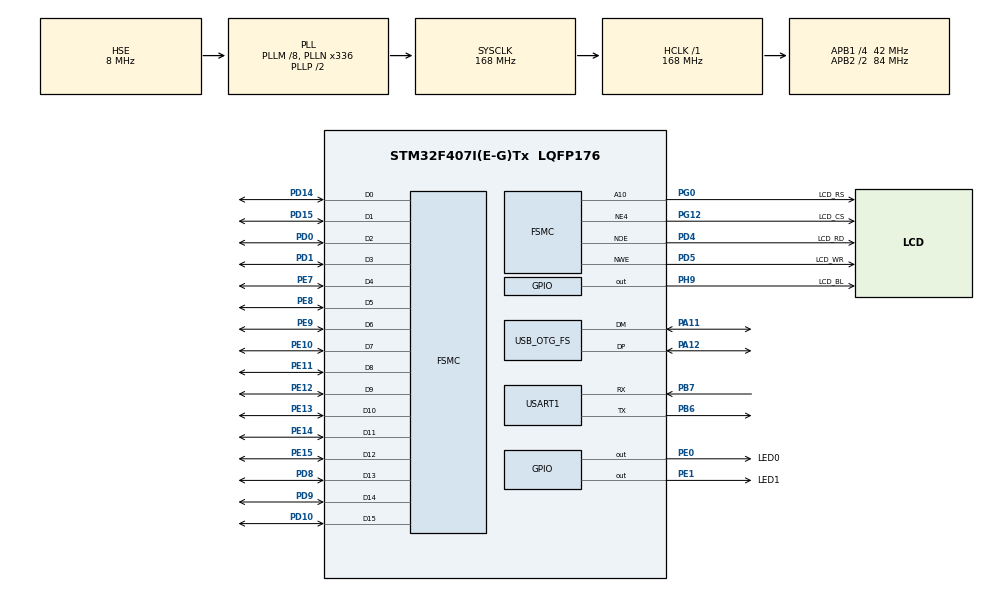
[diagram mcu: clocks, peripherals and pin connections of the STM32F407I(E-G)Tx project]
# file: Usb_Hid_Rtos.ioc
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FREERTOS.Tasks01=defaultTask,0,256,StartDefaultTask,Default,NULL,Dynamic,NULL,NULL
FREERTOS.configMINIMAL_STACK_SIZE=256
FREERTOS.configTOTAL_HEAP_SIZE=40960
FSMC.AddressSetupTime1=0xf
FSMC.DataSetupTime1=60
FSMC.ExtendedAddressSetupTime1=9
FSMC.ExtendedDataSetupTime1=9
FSMC.ExtendedMode1=FSMC_EXTENDED_MODE_ENABLE
Mcu.Family=STM32F4
Mcu.Name=STM32F407I(E-G)Tx
Mcu.Package=LQFP176
NVIC.OTG_FS_IRQn=true\:5\:0\:true\:false\:true\:true\:true\:true\:true
NVIC.PriorityGroup=NVIC_PRIORITYGROUP_4
NVIC.TIM1_UP_TIM10_IRQn=true\:0\:0\:true\:false\:true\:false\:false\:true\:true
NVIC.TimeBase=TIM1_UP_TIM10_IRQn
NVIC.TimeBaseIP=TIM1
PA11.Mode=Host_Only
PA11.Signal=USB_OTG_FS_DM
PA12.Mode=Host_Only
PA12.Signal=USB_OTG_FS_DP
PA13.Mode=Serial_Wire
PA13.Signal=SYS_JTMS-SWDIO
PA14.Mode=Serial_Wire
PA14.Signal=SYS_JTCK-SWCLK
PB6.Mode=Asynchronous
PB6.Signal=USART1_TX
PB7.Mode=Asynchronous
PB7.Signal=USART1_RX
PD0.Signal=FSMC_D2_DA2
PD1.Signal=FSMC_D3_DA3
PD10.Signal=FSMC_D15_DA15
PD14.Signal=FSMC_D0_DA0
PD15.Signal=FSMC_D1_DA1
PD4.GPIO_Label=LCD_RD
PD4.GPIO_PuPd=GPIO_PULLUP
PD4.Signal=FSMC_NOE
PD5.GPIO_Label=LCD_WR
PD5.GPIO_PuPd=GPIO_PULLUP
PD5.Signal=FSMC_NWE
PD8.Signal=FSMC_D13_DA13
PD9.Signal=FSMC_D14_DA14
PE0.GPIO_Label=LED0
PE0.GPIO_Speed=GPIO_SPEED_FREQ_HIGH
PE0.PinState=GPIO_PIN_SET
PE0.Signal=GPIO_Output
PE1.GPIO_Label=LED1
PE1.GPIO_Speed=GPIO_SPEED_FREQ_HIGH
PE1.PinState=GPIO_PIN_SET
PE1.Signal=GPIO_Output
PE10.Signal=FSMC_D7_DA7
PE11.Signal=FSMC_D8_DA8
PE12.Signal=FSMC_D9_DA9
PE13.Signal=FSMC_D10_DA10
PE14.Signal=FSMC_D11_DA11
PE15.Signal=FSMC_D12_DA12
PE7.Signal=FSMC_D4_DA4
PE8.Signal=FSMC_D5_DA5
PE9.Signal=FSMC_D6_DA6
PG0.GPIO_Label=LCD_RS
PG0.GPIO_PuPd=GPIO_PULLUP
PG0.Signal=FSMC_A10
PG12.GPIO_Label=LCD_CS
PG12.GPIO_PuPd=GPIO_PULLUP
PG12.Mode=NorPsramChipSelect4_1
PG12.Signal=FSMC_NE4
PH0-OSC_IN.Mode=HSE-External-Oscillator
PH0-OSC_IN.Signal=RCC_OSC_IN
PH1-OSC_OUT.Mode=HSE-External-Oscillator
PH1-OSC_OUT.Signal=RCC_OSC_OUT
PH9.GPIO_Label=LCD_BL
PH9.GPIO_Speed=GPIO_SPEED_FREQ_HIGH
PH9.PinState=GPIO_PIN_SET
PH9.Signal=GPIO_Output
ProjectManager.HeapSize=0x1024
ProjectManager.StackSize=0x2048
ProjectManager.TargetToolchain=MDK-ARM V5.32
RCC.48MHZClocksFreq_Value=48000000
RCC.AHBFreq_Value=168000000
RCC.APB1CLKDivider=RCC_HCLK_DIV4
RCC.APB1Freq_Value=42000000
RCC.APB1TimFreq_Value=84000000
RCC.APB2CLKDivider=RCC_HCLK_DIV2
RCC.APB2Freq_Value=84000000
RCC.APB2TimFreq_Value=168000000
RCC.CortexFreq_Value=168000000
RCC.HCLKFreq_Value=168000000
RCC.HSE_VALUE=8000000
RCC.HSI_VALUE=16000000
RCC.LSE_VALUE=32768
RCC.PLLM=8
RCC.PLLN=336
RCC.PLLQ=7
RCC.SYSCLKFreq_VALUE=168000000
RCC.SYSCLKSource=RCC_SYSCLKSOURCE_PLLCLK
RCC.VCOOutputFreq_Value=336000000
SH.FSMC_A10.0=FSMC_A10,A10_1
SH.FSMC_D0_DA0.0=FSMC_D0,16b-d1
SH.FSMC_D10_DA10.0=FSMC_D10,16b-d1
SH.FSMC_D11_DA11.0=FSMC_D11,16b-d1
SH.FSMC_D12_DA12.0=FSMC_D12,16b-d1
SH.FSMC_D13_DA13.0=FSMC_D13,16b-d1
SH.FSMC_D14_DA14.0=FSMC_D14,16b-d1
SH.FSMC_D15_DA15.0=FSMC_D15,16b-d1
SH.FSMC_D1_DA1.0=FSMC_D1,16b-d1
SH.FSMC_D2_DA2.0=FSMC_D2,16b-d1
SH.FSMC_D3_DA3.0=FSMC_D3,16b-d1
SH.FSMC_D4_DA4.0=FSMC_D4,16b-d1
SH.FSMC_D5_DA5.0=FSMC_D5,16b-d1
SH.FSMC_D6_DA6.0=FSMC_D6,16b-d1
SH.FSMC_D7_DA7.0=FSMC_D7,16b-d1
SH.FSMC_D8_DA8.0=FSMC_D8,16b-d1
SH.FSMC_D9_DA9.0=FSMC_D9,16b-d1
SH.FSMC_NOE.0=FSMC_NOE,Lcd1
SH.FSMC_NWE.0=FSMC_NWE,Lcd1
USART1.VirtualMode=VM_ASYNC
USB_HOST.USBH_HandleTypeDef-HID_FS=hUsbHostFS
USB_HOST.USBH_USE_OS-HID_FS=0
USB_HOST.VirtualModeFS=Hid
USB_OTG_FS.VirtualMode=Host_Only
USB_OTG_FS.phy_itface=HCD_PHY_EMBEDDED
VP_FREERTOS_VS_CMSIS_V1.Mode=CMSIS_V1
VP_SYS_VS_tim1.Mode=TIM1
VP_USB_HOST_VS_USB_HOST_HID_FS.Mode=HID_FS
board=custom

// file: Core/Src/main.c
/* USER CODE BEGIN Header */
/**
  ******************************************************************************
  * @file           : main.c
  * @brief          : Main program body
  ******************************************************************************
  * @attention
  *
  * Copyright (c) 2024 STMicroelectronics.
  * All rights reserved.
  *
  * This software is licensed under terms that can be found in the LICENSE file
  * in the root directory of this software component.
  * If no LICENSE file comes with this software, it is provided AS-IS.
  *
  ******************************************************************************
  */
/* USER CODE END Header */
#include "main.h"
#include "cmsis_os.h"
#include "usart.h"
#include "usb_host.h"
#include "gpio.h"
#include "fsmc.h"

void SystemClock_Config(void);
void MX_FREERTOS_Init(void);

int main(void)
{

  /* MCU Configuration--------------------------------------------------------*/

  /* Reset of all peripherals, Initializes the Flash interface and the Systick. */
  HAL_Init();

  /* Configure the system clock */
  SystemClock_Config();

  /* Initialize all configured peripherals */
  MX_GPIO_Init();
  MX_USART1_UART_Init();
  MX_FSMC_Init();

  /* Call init function for freertos objects (in cmsis_os2.c) */
  MX_FREERTOS_Init();

  /* Start scheduler */
  osKernelStart();

  /* We should never get here as control is now taken by the scheduler */

  /* Infinite loop */
  while (1)
  {

  }
}

void SystemClock_Config(void)
{
  RCC_OscInitTypeDef RCC_OscInitStruct = {0};
  RCC_ClkInitTypeDef RCC_ClkInitStruct = {0};

  /** Configure the main internal regulator output voltage
  */
  __HAL_RCC_PWR_CLK_ENABLE();
  __HAL_PWR_VOLTAGESCALING_CONFIG(PWR_REGULATOR_VOLTAGE_SCALE1);

  /** Initializes the RCC Oscillators according to the specified parameters
  * in the RCC_OscInitTypeDef structure.
  */
  RCC_OscInitStruct.OscillatorType = RCC_OSCILLATORTYPE_HSE;
  RCC_OscInitStruct.HSEState = RCC_HSE_ON;
  RCC_OscInitStruct.PLL.PLLState = RCC_PLL_ON;
  RCC_OscInitStruct.PLL.PLLSource = RCC_PLLSOURCE_HSE;
  RCC_OscInitStruct.PLL.PLLM = 8;
  RCC_OscInitStruct.PLL.PLLN = 336;
  RCC_OscInitStruct.PLL.PLLP = RCC_PLLP_DIV2;
  RCC_OscInitStruct.PLL.PLLQ = 7;
  if (HAL_RCC_OscConfig(&RCC_OscInitStruct) != HAL_OK)
  {
    Error_Handler();
  }

  /** Initializes the CPU, AHB and APB buses clocks
  */
  RCC_ClkInitStruct.ClockType = RCC_CLOCKTYPE_HCLK|RCC_CLOCKTYPE_SYSCLK
                              |RCC_CLOCKTYPE_PCLK1|RCC_CLOCKTYPE_PCLK2;
  RCC_ClkInitStruct.SYSCLKSource = RCC_SYSCLKSOURCE_PLLCLK;
  RCC_ClkInitStruct.AHBCLKDivider = RCC_SYSCLK_DIV1;
  RCC_ClkInitStruct.APB1CLKDivider = RCC_HCLK_DIV4;
  RCC_ClkInitStruct.APB2CLKDivider = RCC_HCLK_DIV2;

  if (HAL_RCC_ClockConfig(&RCC_ClkInitStruct, FLASH_LATENCY_5) != HAL_OK)
  {
    Error_Handler();
  }
}

void HAL_TIM_PeriodElapsedCallback(TIM_HandleTypeDef *htim)
{
  if (htim->Instance == TIM1) {
    HAL_IncTick();
  }
}

void Error_Handler(void)
{
  __disable_irq();
  while (1)
  {
  }
}

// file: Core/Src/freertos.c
/* USER CODE BEGIN Header */
/**
  ******************************************************************************
  * File Name          : freertos.c
  * Description        : Code for freertos applications
  ******************************************************************************
  * @attention
  *
  * Copyright (c) 2024 STMicroelectronics.
  * All rights reserved.
  *
  * This software is licensed under terms that can be found in the LICENSE file
  * in the root directory of this software component.
  * If no LICENSE file comes with this software, it is provided AS-IS.
  *
  ******************************************************************************
  */
/* USER CODE END Header */

#include "FreeRTOS.h"
#include "task.h"
#include "main.h"
#include "cmsis_os.h"

/* USER CODE BEGIN Includes */
#include "lcd.h"
#include "delay.h"
#include "usart.h"

#include "usbh_def.h"  //USBH_HandleTypeDef
#include "usb_host.h"  //hUsbHostFS
#include "usbh_core.h"  //USBH_Process_OS
/* USER CODE END Includes */

/* USER CODE BEGIN Variables */
//lcd
uint8_t lcd_id[12];
uint16_t colors[12] = {WHITE, BLACK, BLUE, RED, MAGENTA, GREEN, CYAN, YELLOW, BRRED, GRAY, LGRAY, BROWN};
uint8_t color_index = 0;

extern USBH_HandleTypeDef hUsbHostFS;
/* USER CODE END Variables */
osThreadId defaultTaskHandle;

void StartDefaultTask(void const * argument);

extern void MX_USB_HOST_Init(void);
void MX_FREERTOS_Init(void); /* (MISRA C 2004 rule 8.1) */

/* GetIdleTaskMemory prototype (linked to static allocation support) */
void vApplicationGetIdleTaskMemory( StaticTask_t **ppxIdleTaskTCBBuffer, StackType_t **ppxIdleTaskStackBuffer, uint32_t *pulIdleTaskStackSize );

/* USER CODE BEGIN GET_IDLE_TASK_MEMORY */
static StaticTask_t xIdleTaskTCBBuffer;
static StackType_t xIdleStack[configMINIMAL_STACK_SIZE];

void vApplicationGetIdleTaskMemory( StaticTask_t **ppxIdleTaskTCBBuffer, StackType_t **ppxIdleTaskStackBuffer, uint32_t *pulIdleTaskStackSize )
{
  *ppxIdleTaskTCBBuffer = &xIdleTaskTCBBuffer;
  *ppxIdleTaskStackBuffer = &xIdleStack[0];
  *pulIdleTaskStackSize = configMINIMAL_STACK_SIZE;
  /* place for user code */
}
/* USER CODE END GET_IDLE_TASK_MEMORY */

void MX_FREERTOS_Init(void) {

  /* Create the thread(s) */
  /* definition and creation of defaultTask */
  osThreadDef(defaultTask, StartDefaultTask, osPriorityNormal, 0, 256);
  defaultTaskHandle = osThreadCreate(osThread(defaultTask), NULL);

}

void StartDefaultTask(void const * argument)
{
  /* init code for USB_HOST */
  MX_USB_HOST_Init();
  /* USER CODE BEGIN StartDefaultTask */
	// 定义互斥锁句柄
	//SemaphoreHandle_t xMutex;
	//lcd init
	delay_init(168);                    // 延时初始化
	lcd_init();                             // 初始化LCD
  sprintf((char *)lcd_id, "LCD ID:%04X", lcddev.id);  // 将LCD ID打印到lcd_id数组

	lcd_show_string(30, 50, 200, 16, 16, "STM32", RED);
	lcd_show_string(30, 70, 200, 16, 16, "USB MOUSE/KEYBOARD TEST", RED);
	lcd_show_string(30, 90, 200, 16, 16, "ATOM@ALIENTEK", RED);
	lcd_show_string(30, 110, 200, 16, 16, "USB Connecting...", RED);
	/*
	// 获取互斥锁
	if(xSemaphoreTake(xMutex, portMAX_DELAY) == pdTRUE)
	{
			// 保护的printf调用
			printf("fuck u\n");
			// 释放互斥锁
			xSemaphoreGive(xMutex);
	}
	*/
  /* Infinite loop */
  for(;;)
  {
		//lcd test
		/*
		lcd_clear(colors[color_index]);  //清屏

		lcd_show_string(10, 40, 240, 32, 32, "STM32", RED);
		lcd_show_string(10, 80, 240, 24, 24, "TFTLCD TEST", RED);
		lcd_show_string(10, 110, 240, 16, 16, "ATOM@ALIENTEK", RED);
		lcd_show_string(10, 130, 240, 16, 16, (char *)lcd_id, RED); // 显示LCD ID
		color_index++;

		if (color_index == 12){
				color_index = 0;
		}
		HAL_GPIO_TogglePin(LED0_GPIO_Port, LED0_Pin); // LED0闪烁
		osDelay(1000);
		*/

		USBH_Process(&hUsbHostFS);
		usb_demo(&hUsbHostFS);
		if(usbh_check_enume_dead(&hUsbHostFS))    // 检测USB HOST 枚举是否死机了?死机了,则重新初始化
		{
				//printf("Error! USB HID reconnect!\r\n");
				lcd_show_string(30, 110, 200, 16, 16, "Error! USB HID reconnect!", RED);
				usbh_hid_reconnect();       // 重连
		}
		osDelay(100);
  }
  /* USER CODE END StartDefaultTask */
}
